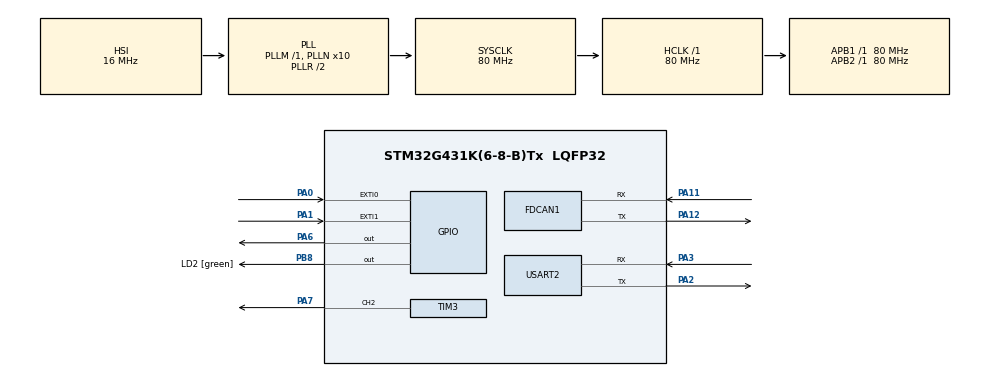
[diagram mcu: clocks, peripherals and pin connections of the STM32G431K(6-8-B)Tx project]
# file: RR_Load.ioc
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FDCAN1.CalculateBaudRateNominal=1000000
FDCAN1.CalculateTimeBitNominal=1000
FDCAN1.CalculateTimeQuantumNominal=62.5
FDCAN1.DataPrescaler=2
FDCAN1.DataSyncJumpWidth=2
FDCAN1.DataTimeSeg1=10
FDCAN1.DataTimeSeg2=9
FDCAN1.FrameFormat=FDCAN_FRAME_FD_BRS
FDCAN1.NominalPrescaler=5
FDCAN1.NominalSyncJumpWidth=2
FDCAN1.NominalTimeSeg1=13
FDCAN1.StdFiltersNbr=1
Mcu.Family=STM32G4
Mcu.Name=STM32G431K(6-8-B)Tx
Mcu.Package=LQFP32
NVIC.EXTI0_IRQn=true\:1\:0\:true\:false\:true\:true\:true\:true
NVIC.EXTI1_IRQn=true\:1\:0\:true\:false\:true\:true\:true\:true
NVIC.FDCAN1_IT0_IRQn=true\:0\:0\:false\:false\:true\:true\:true\:true
NVIC.PriorityGroup=NVIC_PRIORITYGROUP_4
PA0.GPIO_PuPd=GPIO_PULLDOWN
PA0.Signal=GPXTI0
PA1.Signal=GPXTI1
PA11.Mode=FDCAN_Activate
PA11.Signal=FDCAN1_RX
PA12.Mode=FDCAN_Activate
PA12.Signal=FDCAN1_TX
PA13.GPIO_Label=T_SWDIO
PA13.Mode=Serial_Wire
PA13.Signal=SYS_JTMS-SWDIO
PA14.GPIO_Label=T_SWCLK
PA14.Mode=Serial_Wire
PA14.Signal=SYS_JTCK-SWCLK
PA2.Mode=Asynchronous
PA2.Signal=USART2_TX
PA3.Mode=Asynchronous
PA3.Signal=USART2_RX
PA6.Signal=GPIO_Output
PA7.Signal=S_TIM3_CH2
PB3.GPIO_Label=T_SWO
PB3.Signal=SYS_JTDO-SWO
PB8-BOOT0.GPIO_Label=LD2 [green]
PB8-BOOT0.Signal=GPIO_Output
ProjectManager.HeapSize=0x200
ProjectManager.StackSize=0x400
ProjectManager.TargetToolchain=STM32CubeIDE
RCC.ADC12Freq_Value=80000000
RCC.AHBFreq_Value=80000000
RCC.APB1Freq_Value=80000000
RCC.APB1TimFreq_Value=80000000
RCC.APB2Freq_Value=80000000
RCC.APB2TimFreq_Value=80000000
RCC.CortexFreq_Value=80000000
RCC.EXTERNAL_CLOCK_VALUE=12288000
RCC.HCLKFreq_Value=80000000
RCC.HSE_VALUE=8000000
RCC.HSI48_VALUE=48000000
RCC.HSI_VALUE=16000000
RCC.LSE_VALUE=32768
RCC.PLLN=10
RCC.SYSCLKFreq_VALUE=80000000
RCC.SYSCLKSource=RCC_SYSCLKSOURCE_PLLCLK
RCC.USBFreq_Value=80000000
RCC.VCOOutputFreq_Value=160000000
SH.S_TIM3_CH2.0=TIM3_CH2,PWM Generation2 CH2
TIM3.Channel-PWM\ Generation2\ CH2=TIM_CHANNEL_2
TIM3.Dithering=Disable
TIM3.PeriodNoDither=99
TIM3.Prescaler=79
USART2.VirtualMode-Asynchronous=VM_ASYNC
VP_TIM3_VS_ClockSourceINT.Mode=Internal
board=NUCLEO-G431KB

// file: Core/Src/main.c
/* USER CODE BEGIN Header */
/**
  ******************************************************************************
  * @file           : main.c
  * @brief          : Main program body
  ******************************************************************************
  * @attention
  *
  * Copyright (c) 2023 STMicroelectronics.
  * All rights reserved.
  *
  * This software is licensed under terms that can be found in the LICENSE file
  * in the root directory of this software component.
  * If no LICENSE file comes with this software, it is provided AS-IS.
  *
  ******************************************************************************
  */
/* USER CODE END Header */
#include "main.h"

FDCAN_HandleTypeDef hfdcan1;

TIM_HandleTypeDef htim3;

UART_HandleTypeDef huart2;

/* USER CODE BEGIN PV */
FDCAN_TxHeaderTypeDef TxHeader;
FDCAN_RxHeaderTypeDef RxHeader;
FDCAN_FilterTypeDef sFilterConfig;

uint8_t TxData[1];
uint8_t RxData[1];
uint32_t TxMailbox;
/* USER CODE END PV */

void SystemClock_Config(void);
static void MX_GPIO_Init(void);
static void MX_TIM3_Init(void);
static void MX_USART2_UART_Init(void);
static void MX_FDCAN1_Init(void);

/* USER CODE BEGIN 0 */
int flag = 0;

void HAL_GPIO_EXTI_Callback (uint16_t GPIO_Pin){ //リミットスイッチを押したとき

	if (GPIO_Pin == GPIO_PIN_1){
		 HAL_GPIO_WritePin(GPIOA, GPIO_PIN_6, GPIO_PIN_SET);
		 __HAL_TIM_SET_COMPARE(&htim3, TIM_CHANNEL_2, 20);
		 __HAL_GPIO_EXTI_CLEAR_FLAG(GPIO_PIN_0);
		 __HAL_GPIO_EXTI_CLEAR_FLAG(GPIO_PIN_1);
		 HAL_Delay(10);
	}

	if (GPIO_Pin == GPIO_PIN_0){
		 HAL_GPIO_WritePin(GPIOA, GPIO_PIN_6, GPIO_PIN_RESET);
		 HAL_Delay(100);
		 __HAL_TIM_SET_COMPARE(&htim3, TIM_CHANNEL_2, 99);
		 __HAL_GPIO_EXTI_CLEAR_FLAG(GPIO_PIN_0);
		 __HAL_GPIO_EXTI_CLEAR_FLAG(GPIO_PIN_1);
		 HAL_Delay(10);
	}
}

/* USER CODE END 0 */

int main(void)
{

  /* MCU Configuration--------------------------------------------------------*/

  /* Reset of all peripherals, Initializes the Flash interface and the Systick. */
  HAL_Init();

  /* Configure the system clock */
  SystemClock_Config();

  /* Initialize all configured peripherals */
  MX_GPIO_Init();
  MX_TIM3_Init();
  MX_USART2_UART_Init();
  MX_FDCAN1_Init();
  /* USER CODE BEGIN 2 */

  __HAL_GPIO_EXTI_CLEAR_FLAG(GPIO_PIN_0);
  __HAL_GPIO_EXTI_CLEAR_FLAG(GPIO_PIN_1);

  __HAL_TIM_SET_COMPARE(&htim3, TIM_CHANNEL_2, 99);
  HAL_GPIO_WritePin(GPIOA, GPIO_PIN_6, GPIO_PIN_RESET);
  HAL_TIM_PWM_Start(&htim3, TIM_CHANNEL_2);

    TxHeader.Identifier = 0x512;
    TxHeader.IdType = FDCAN_STANDARD_ID;
    TxHeader.TxFrameType = FDCAN_DATA_FRAME;
    TxHeader.DataLength = FDCAN_DLC_BYTES_1;
    TxHeader.ErrorStateIndicator = FDCAN_ESI_ACTIVE;
    TxHeader.BitRateSwitch = FDCAN_BRS_ON;
    TxHeader.FDFormat = FDCAN_FD_CAN;
    TxHeader.TxEventFifoControl = FDCAN_NO_TX_EVENTS;
    TxHeader.MessageMarker = 0;

    FDCAN_FilterTypeDef sFilterConfig;
    sFilterConfig.IdType = FDCAN_STANDARD_ID;
    sFilterConfig.FilterIndex = 0;
    sFilterConfig.FilterType = FDCAN_FILTER_DUAL;
    sFilterConfig.FilterConfig = FDCAN_FILTER_TO_RXFIFO0;
    sFilterConfig.FilterID1 = 0x051;
    sFilterConfig.FilterID2 = 0x312;

    if (HAL_FDCAN_ConfigFilter(&hfdcan1, &sFilterConfig) != HAL_OK) {
        Error_Handler();
    }
    if (HAL_FDCAN_ConfigGlobalFilter(&hfdcan1, FDCAN_REJECT, FDCAN_REJECT, FDCAN_FILTER_REMOTE, FDCAN_FILTER_REMOTE) !=
        HAL_OK) {
        Error_Handler();
    }

    /* Start the FDCAN module */
    if (HAL_FDCAN_Start(&hfdcan1) != HAL_OK) {
        Error_Handler();
    }
    if (HAL_FDCAN_ActivateNotification(&hfdcan1, FDCAN_IT_RX_FIFO0_NEW_MESSAGE, 0) != HAL_OK){
        Error_Handler();
    }
  /* USER CODE END 2 */

  /* Infinite loop */
  while (1)
  {

    /* USER CODE BEGIN 3 */
	  if(flag == 1){ //装填動作
		  __HAL_TIM_SET_COMPARE(&htim3, TIM_CHANNEL_2, 20);
		  flag = 0;

          // 次の行程へCAN通信
          TxHeader.Identifier = 0x302;
          TxData[0] = 0x03;
          if (HAL_FDCAN_AddMessageToTxFifoQ(&hfdcan1, &TxHeader, TxData) != HAL_OK)
          {
              Error_Handler();
          }
	  }
  }
  /* USER CODE END 3 */
}

void SystemClock_Config(void)
{
  RCC_OscInitTypeDef RCC_OscInitStruct = {0};
  RCC_ClkInitTypeDef RCC_ClkInitStruct = {0};

  /** Configure the main internal regulator output voltage
  */
  HAL_PWREx_ControlVoltageScaling(PWR_REGULATOR_VOLTAGE_SCALE1);

  /** Initializes the RCC Oscillators according to the specified parameters
  * in the RCC_OscInitTypeDef structure.
  */
  RCC_OscInitStruct.OscillatorType = RCC_OSCILLATORTYPE_HSI;
  RCC_OscInitStruct.HSIState = RCC_HSI_ON;
  RCC_OscInitStruct.HSICalibrationValue = RCC_HSICALIBRATION_DEFAULT;
  RCC_OscInitStruct.PLL.PLLState = RCC_PLL_ON;
  RCC_OscInitStruct.PLL.PLLSource = RCC_PLLSOURCE_HSI;
  RCC_OscInitStruct.PLL.PLLM = RCC_PLLM_DIV1;
  RCC_OscInitStruct.PLL.PLLN = 10;
  RCC_OscInitStruct.PLL.PLLP = RCC_PLLP_DIV2;
  RCC_OscInitStruct.PLL.PLLQ = RCC_PLLQ_DIV2;
  RCC_OscInitStruct.PLL.PLLR = RCC_PLLR_DIV2;
  if (HAL_RCC_OscConfig(&RCC_OscInitStruct) != HAL_OK)
  {
    Error_Handler();
  }

  /** Initializes the CPU, AHB and APB buses clocks
  */
  RCC_ClkInitStruct.ClockType = RCC_CLOCKTYPE_HCLK|RCC_CLOCKTYPE_SYSCLK
                              |RCC_CLOCKTYPE_PCLK1|RCC_CLOCKTYPE_PCLK2;
  RCC_ClkInitStruct.SYSCLKSource = RCC_SYSCLKSOURCE_PLLCLK;
  RCC_ClkInitStruct.AHBCLKDivider = RCC_SYSCLK_DIV1;
  RCC_ClkInitStruct.APB1CLKDivider = RCC_HCLK_DIV1;
  RCC_ClkInitStruct.APB2CLKDivider = RCC_HCLK_DIV1;

  if (HAL_RCC_ClockConfig(&RCC_ClkInitStruct, FLASH_LATENCY_2) != HAL_OK)
  {
    Error_Handler();
  }
}

static void MX_FDCAN1_Init(void)
{

  hfdcan1.Instance = FDCAN1;
  hfdcan1.Init.ClockDivider = FDCAN_CLOCK_DIV1;
  hfdcan1.Init.FrameFormat = FDCAN_FRAME_FD_BRS;
  hfdcan1.Init.Mode = FDCAN_MODE_NORMAL;
  hfdcan1.Init.AutoRetransmission = DISABLE;
  hfdcan1.Init.TransmitPause = DISABLE;
  hfdcan1.Init.ProtocolException = DISABLE;
  hfdcan1.Init.NominalPrescaler = 5;
  hfdcan1.Init.NominalSyncJumpWidth = 2;
  hfdcan1.Init.NominalTimeSeg1 = 13;
  hfdcan1.Init.NominalTimeSeg2 = 2;
  hfdcan1.Init.DataPrescaler = 2;
  hfdcan1.Init.DataSyncJumpWidth = 2;
  hfdcan1.Init.DataTimeSeg1 = 10;
  hfdcan1.Init.DataTimeSeg2 = 9;
  hfdcan1.Init.StdFiltersNbr = 1;
  hfdcan1.Init.ExtFiltersNbr = 0;
  hfdcan1.Init.TxFifoQueueMode = FDCAN_TX_FIFO_OPERATION;
  if (HAL_FDCAN_Init(&hfdcan1) != HAL_OK)
  {
    Error_Handler();
  }

}

static void MX_TIM3_Init(void)
{

  TIM_ClockConfigTypeDef sClockSourceConfig = {0};
  TIM_MasterConfigTypeDef sMasterConfig = {0};
  TIM_OC_InitTypeDef sConfigOC = {0};

  htim3.Instance = TIM3;
  htim3.Init.Prescaler = 79;
  htim3.Init.CounterMode = TIM_COUNTERMODE_UP;
  htim3.Init.Period = 99;
  htim3.Init.ClockDivision = TIM_CLOCKDIVISION_DIV1;
  htim3.Init.AutoReloadPreload = TIM_AUTORELOAD_PRELOAD_DISABLE;
  if (HAL_TIM_Base_Init(&htim3) != HAL_OK)
  {
    Error_Handler();
  }
  sClockSourceConfig.ClockSource = TIM_CLOCKSOURCE_INTERNAL;
  if (HAL_TIM_ConfigClockSource(&htim3, &sClockSourceConfig) != HAL_OK)
  {
    Error_Handler();
  }
  if (HAL_TIM_PWM_Init(&htim3) != HAL_OK)
  {
    Error_Handler();
  }
  sMasterConfig.MasterOutputTrigger = TIM_TRGO_RESET;
  sMasterConfig.MasterSlaveMode = TIM_MASTERSLAVEMODE_DISABLE;
  if (HAL_TIMEx_MasterConfigSynchronization(&htim3, &sMasterConfig) != HAL_OK)
  {
    Error_Handler();
  }
  sConfigOC.OCMode = TIM_OCMODE_PWM1;
  sConfigOC.Pulse = 0;
  sConfigOC.OCPolarity = TIM_OCPOLARITY_HIGH;
  sConfigOC.OCFastMode = TIM_OCFAST_DISABLE;
  if (HAL_TIM_PWM_ConfigChannel(&htim3, &sConfigOC, TIM_CHANNEL_2) != HAL_OK)
  {
    Error_Handler();
  }
  HAL_TIM_MspPostInit(&htim3);

}

static void MX_USART2_UART_Init(void)
{

  huart2.Instance = USART2;
  huart2.Init.BaudRate = 115200;
  huart2.Init.WordLength = UART_WORDLENGTH_8B;
  huart2.Init.StopBits = UART_STOPBITS_1;
  huart2.Init.Parity = UART_PARITY_NONE;
  huart2.Init.Mode = UART_MODE_TX_RX;
  huart2.Init.HwFlowCtl = UART_HWCONTROL_NONE;
  huart2.Init.OverSampling = UART_OVERSAMPLING_16;
  huart2.Init.OneBitSampling = UART_ONE_BIT_SAMPLE_DISABLE;
  huart2.Init.ClockPrescaler = UART_PRESCALER_DIV1;
  huart2.AdvancedInit.AdvFeatureInit = UART_ADVFEATURE_NO_INIT;
  if (HAL_UART_Init(&huart2) != HAL_OK)
  {
    Error_Handler();
  }
  if (HAL_UARTEx_SetTxFifoThreshold(&huart2, UART_TXFIFO_THRESHOLD_1_8) != HAL_OK)
  {
    Error_Handler();
  }
  if (HAL_UARTEx_SetRxFifoThreshold(&huart2, UART_RXFIFO_THRESHOLD_1_8) != HAL_OK)
  {
    Error_Handler();
  }
  if (HAL_UARTEx_DisableFifoMode(&huart2) != HAL_OK)
  {
    Error_Handler();
  }

}

static void MX_GPIO_Init(void)
{
  GPIO_InitTypeDef GPIO_InitStruct = {0};

  /* GPIO Ports Clock Enable */
  __HAL_RCC_GPIOA_CLK_ENABLE();
  __HAL_RCC_GPIOB_CLK_ENABLE();

  /*Configure GPIO pin Output Level */
  HAL_GPIO_WritePin(GPIOA, GPIO_PIN_6, GPIO_PIN_RESET);

  /*Configure GPIO pin Output Level */
  HAL_GPIO_WritePin(LD2_GPIO_Port, LD2_Pin, GPIO_PIN_RESET);

  /*Configure GPIO pin : PA0 */
  GPIO_InitStruct.Pin = GPIO_PIN_0;
  GPIO_InitStruct.Mode = GPIO_MODE_IT_RISING;
  GPIO_InitStruct.Pull = GPIO_PULLDOWN;
  HAL_GPIO_Init(GPIOA, &GPIO_InitStruct);

  /*Configure GPIO pin : PA1 */
  GPIO_InitStruct.Pin = GPIO_PIN_1;
  GPIO_InitStruct.Mode = GPIO_MODE_IT_RISING;
  GPIO_InitStruct.Pull = GPIO_NOPULL;
  HAL_GPIO_Init(GPIOA, &GPIO_InitStruct);

  /*Configure GPIO pin : PA6 */
  GPIO_InitStruct.Pin = GPIO_PIN_6;
  GPIO_InitStruct.Mode = GPIO_MODE_OUTPUT_PP;
  GPIO_InitStruct.Pull = GPIO_NOPULL;
  GPIO_InitStruct.Speed = GPIO_SPEED_FREQ_LOW;
  HAL_GPIO_Init(GPIOA, &GPIO_InitStruct);

  /*Configure GPIO pin : LD2_Pin */
  GPIO_InitStruct.Pin = LD2_Pin;
  GPIO_InitStruct.Mode = GPIO_MODE_OUTPUT_PP;
  GPIO_InitStruct.Pull = GPIO_NOPULL;
  GPIO_InitStruct.Speed = GPIO_SPEED_FREQ_LOW;
  HAL_GPIO_Init(LD2_GPIO_Port, &GPIO_InitStruct);

  /* EXTI interrupt init*/
  HAL_NVIC_SetPriority(EXTI0_IRQn, 1, 0);
  HAL_NVIC_EnableIRQ(EXTI0_IRQn);

  HAL_NVIC_SetPriority(EXTI1_IRQn, 1, 0);
  HAL_NVIC_EnableIRQ(EXTI1_IRQn);

}

/* USER CODE BEGIN 4 */
void HAL_FDCAN_RxFifo0Callback(FDCAN_HandleTypeDef *hfdcan1, uint32_t RxFifo0ITs) {
    if ((RxFifo0ITs & FDCAN_IT_RX_FIFO0_NEW_MESSAGE) != RESET) {
        /* Retrieve Rx messages from RX FIFO0 */
        if (HAL_FDCAN_GetRxMessage(hfdcan1, FDCAN_RX_FIFO0, &RxHeader, RxData) != HAL_OK) {
            Error_Handler();
        }

        if ((RxHeader.Identifier == 0x312)) {
            flag = 1;
        }
        if ((RxHeader.Identifier == 0x051)) {
            flag = 0;
        }
    }
}
/* USER CODE END 4 */

void Error_Handler(void)
{
  __disable_irq();
  while (1)
  {
  }
}
